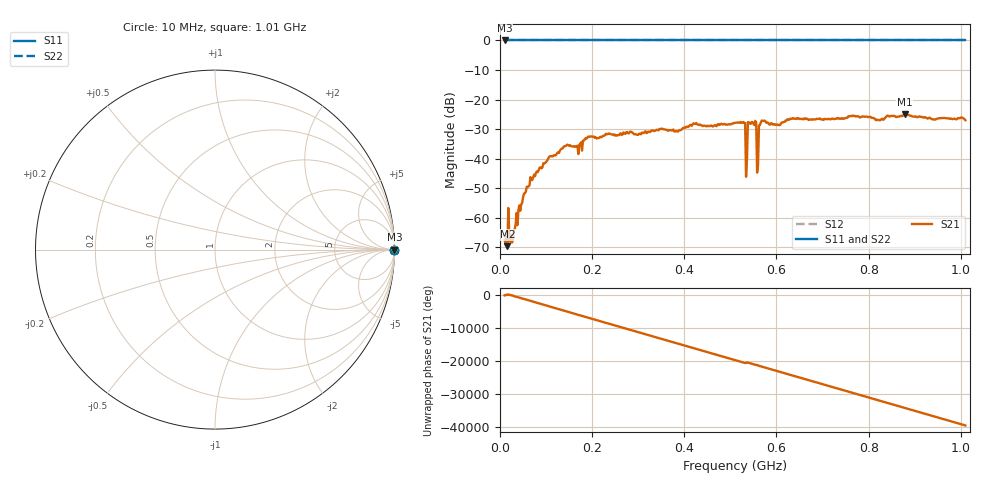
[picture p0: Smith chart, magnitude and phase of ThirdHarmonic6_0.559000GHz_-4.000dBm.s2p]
! 8/15/2025 5:47:42 PM
! C:\ANRITSUVNA\TEMP\TEMP.S2P
! CHANNEL.1
! TR.MEASUREMENT
! RAW.DATA
! RF.CORRECTION.OFF
! AVERAGING.OFF
! IF.BANDWIDTH: 5KHZ
! SWEEPTYPE:  FREQ.SWEEP(Linear)
! Reference Plane Port Info
! PORT:  PORT1  PORT2
! DISTANCE:  0  m  0  m
! TIME:  0  s  0  s
! PHASE.OFFSET:  0  deg.  0  deg.
! LOSS:  0  dB  0  dB
! REF.LOSS:  0  dB  0  dB
! REF.FREQ:  0  Hz  0  Hz
! Power Info
! POWER:  -20  dBm  -20  dBm
! EFF.POWER:  -20  dBm  -20  dBm
! SOURCE.ATTEN:  0  dB  0  dB
! TEST.ATTEN:  0  dB  0  dB
# GHZ S RI R 50.0
! FREQ.GHZ  S11RE  S11IM  S21RE  S21IM  S12RE  S12IM  S22RE  S22IM
!; PortSelection: Port_12
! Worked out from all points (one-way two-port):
!   501 points, 10 MHz to 1.01 GHz, reference 50 ohm
!   highest |S21| = -25.06 dB at 878 MHz (marker M1); lowest = -69.6 dB at 16 MHz (marker M2)
!   lowest |S11| = 0.0 dB at 10 MHz (marker M3)
!   |S11| at or under -10 dB: nowhere
!   |S22| runs from 0.0 to 0.0 dB; largest |S21 - S12| = 1.1
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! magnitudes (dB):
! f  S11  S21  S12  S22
! 10 MHz  0.0  -67.6  0.0  0.0
! 16 MHz  0.0  -69.6  0.0  0.0
! 26 MHz  0.0  -68.4  0.0  0.0
! 54 MHz  0.0  -51.7  0.0  0.0
! 84 MHz  0.0  -43.9  0.0  0.0
! 142 MHz  0.0  -35.8  0.0  0.0
! 178 MHz  0.0  -37.3  0.0  0.0
! 344 MHz  0.0  -30.4  0.0  0.0
! 510 MHz  0.0  -27.9  0.0  0.0
! 528 MHz  0.0  -27.6  0.0  0.0
! 534 MHz  0.0  -46.2  0.0  0.0
! 538 MHz  0.0  -27.6  0.0  0.0
! 542 MHz  0.0  -28.1  0.0  0.0
! 552 MHz  0.0  -28.7  0.0  0.0
! 556 MHz  0.0  -27.9  0.0  0.0
! 560 MHz  0.0  -42.2  0.0  0.0
! 566 MHz  0.0  -27.7  0.0  0.0
! 570 MHz  0.0  -27.3  0.0  0.0
! 678 MHz  0.0  -26.9  0.0  0.0
! 844 MHz  0.0  -25.7  0.0  0.0
! 878 MHz  0.0  -25.1  0.0  0.0
! 1.01 GHz  0.0  -27.0  0.0  0.0
